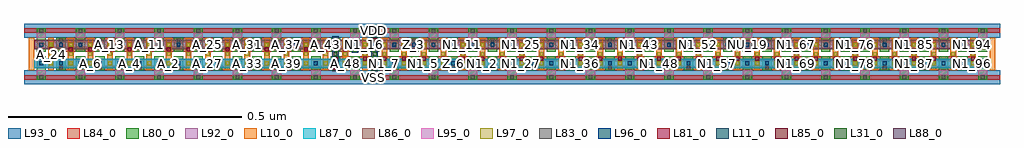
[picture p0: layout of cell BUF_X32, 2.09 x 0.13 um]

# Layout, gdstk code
import gdstk
lib = gdstk.Library(unit=1e-6, precision=1e-09)
def R(c, l, rs):  # rectangles x0, y0, x1, y1
    for r in rs: c.add(gdstk.rectangle(r[:2], r[2:], *l))
def A(c, l, x, y, w, h, nx, ny, dx, dy):  # array of equal rectangles
    R(c, l, [(x+i*dx, y+j*dy, x+i*dx+w, y+j*dy+h) for i in range(nx) for j in range(ny)])
L10_0 = (10, 0)
L11_0 = (11, 0)
L31_0 = (31, 0)
L80_0 = (80, 0)
L81_0 = (81, 0)
L83_0 = (83, 0)
L84_0 = (84, 0)
L85_0 = (85, 0)
L86_0 = (86, 0)
L87_0 = (87, 0)
L88_0 = (88, 0)
L92_0 = (92, 0)
L93_0 = (93, 0)
L95_0 = (95, 0)
L96_0 = (96, 0)
L97_0 = (97, 0)

buf_x32 = lib.new_cell('BUF_X32')
A(buf_x32, L10_0, 0.03, 0.05, 0.012, 0.07, 50, 1, 0.042, 0)
R(buf_x32, L11_0, [(0.68,0.048,0.694,0.123), (0.764,0.048,0.778,0.122), (0.722,0.088,0.736,0.102)])
R(buf_x32, L31_0, [(0.683,0.081,0.691,0.089), (0.767,0.081,0.775,0.089), (0.725,0.091,0.733,0.099)])
A(buf_x32, L80_0, 0.047, 0.03, 0.02, 0.05, 25, 2, 0.084, 0.06)
A(buf_x32, L80_0, 0.089, 0.05, 0.02, 0.03, 4, 1, 0.084, 0)
A(buf_x32, L80_0, 0.341, 0.05, 0.02, 0.03, 21, 1, 0.084, 0)
A(buf_x32, L80_0, 0.089, 0.09, 0.02, 0.03, 24, 1, 0.084, 0)
R(buf_x32, L81_0, [(0.746,0.071,0.754,0.079), (0.746,0.071,0.754,0.079), (0.788,0.071,0.796,0.079), (0.788,0.071,0.796,0.079), (0.83,0.071,0.838,0.079), (0.83,0.071,0.838,0.079), (0.872,0.071,0.88,0.079), (0.872,0.071,0.88,0.079), (0.914,0.071,0.922,0.079), (0.914,0.071,0.922,0.079), (0.956,0.071,0.964,0.079), (0.956,0.071,0.964,0.079), (0.998,0.071,1.006,0.079), (0.998,0.071,1.006,0.079), (1.04,0.071,1.048,0.079), (1.04,0.071,1.048,0.079), (1.082,0.071,1.09,0.079), (1.082,0.071,1.09,0.079), (1.124,0.071,1.132,0.079), (1.124,0.071,1.132,0.079), (1.166,0.071,1.174,0.079), (1.166,0.071,1.174,0.079), (1.208,0.071,1.216,0.079), (1.208,0.071,1.216,0.079), (1.25,0.071,1.258,0.079), (1.25,0.071,1.258,0.079), (1.292,0.071,1.3,0.079), (1.292,0.071,1.3,0.079), (1.334,0.071,1.342,0.079), (1.334,0.071,1.342,0.079), (1.376,0.071,1.384,0.079), (1.376,0.071,1.384,0.079), (1.418,0.071,1.426,0.079), (1.418,0.071,1.426,0.079), (1.46,0.071,1.468,0.079), (1.46,0.071,1.468,0.079), (1.502,0.071,1.51,0.079), (1.502,0.071,1.51,0.079), (1.544,0.071,1.552,0.079), (1.544,0.071,1.552,0.079), (1.586,0.071,1.594,0.079), (1.586,0.071,1.594,0.079), (1.628,0.071,1.636,0.079), (1.628,0.071,1.636,0.079), (1.67,0.071,1.678,0.079), (1.67,0.071,1.678,0.079), (1.712,0.071,1.72,0.079), (1.712,0.071,1.72,0.079), (1.754,0.071,1.762,0.079), (1.754,0.071,1.762,0.079), (1.796,0.071,1.804,0.079), (1.796,0.071,1.804,0.079), (1.838,0.071,1.846,0.079), (1.838,0.071,1.846,0.079), (1.88,0.071,1.888,0.079), (1.88,0.071,1.888,0.079), (1.922,0.071,1.93,0.079), (1.922,0.071,1.93,0.079), (1.964,0.071,1.972,0.079), (1.964,0.071,1.972,0.079), (2.006,0.071,2.014,0.079), (2.006,0.071,2.014,0.079), (2.048,0.071,2.056,0.079), (2.048,0.071,2.056,0.079), (0.074,0.091,0.082,0.099), (0.074,0.091,0.082,0.099), (0.116,0.091,0.124,0.099), (0.116,0.091,0.124,0.099), (0.158,0.091,0.166,0.099), (0.158,0.091,0.166,0.099), (0.2,0.091,0.208,0.099), (0.2,0.091,0.208,0.099), (0.242,0.091,0.25,0.099), (0.242,0.091,0.25,0.099), (0.284,0.091,0.292,0.099), (0.284,0.091,0.292,0.099), (0.326,0.091,0.334,0.099), (0.326,0.091,0.334,0.099), (0.368,0.091,0.376,0.099), (0.368,0.091,0.376,0.099), (0.41,0.091,0.418,0.099), (0.41,0.091,0.418,0.099), (0.452,0.091,0.46,0.099), (0.452,0.091,0.46,0.099), (0.494,0.091,0.502,0.099), (0.494,0.091,0.502,0.099), (0.536,0.091,0.544,0.099), (0.536,0.091,0.544,0.099), (0.578,0.091,0.586,0.099), (0.578,0.091,0.586,0.099), (0.62,0.091,0.628,0.099), (0.62,0.091,0.628,0.099), (0.662,0.091,0.67,0.099), (0.662,0.091,0.67,0.099), (0.704,0.091,0.712,0.099), (0.704,0.091,0.712,0.099)])
A(buf_x32, L83_0, 0.053, 0.031, 0.008, 0.008, 25, 2, 0.084, 0.1)
A(buf_x32, L83_0, 0.095, 0.051, 0.008, 0.008, 4, 1, 0.084, 0)
A(buf_x32, L83_0, 0.347, 0.051, 0.008, 0.008, 21, 1, 0.084, 0)
A(buf_x32, L83_0, 0.095, 0.111, 0.008, 0.008, 24, 1, 0.084, 0)
R(buf_x32, L84_0, [(0.02,0.03,2.11,0.04), (0.094,0.05,0.692,0.06), (0.766,0.05,2.036,0.06), (0.68,0.07,2.057,0.08), (0.073,0.09,0.734,0.1), (0.094,0.11,0.692,0.12), (0.766,0.11,2.036,0.12), (0.02,0.13,2.11,0.14)])
R(buf_x32, L85_0, [(0.683,0.051,0.691,0.059), (0.767,0.051,0.775,0.059), (0.683,0.071,0.691,0.079), (0.725,0.091,0.733,0.099), (0.725,0.091,0.733,0.099), (0.683,0.111,0.691,0.119), (0.767,0.111,0.775,0.119)])
R(buf_x32, L86_0, [(0.042,0.095,2.088,0.115)])
R(buf_x32, L87_0, [(0.042,0.055,2.088,0.075)])
R(buf_x32, L88_0, [(0.765,0.031,0.773,0.039), (0.765,0.131,0.773,0.139)])
R(buf_x32, L92_0, [(0.043,0.057,2.087,0.073), (0.043,0.097,2.087,0.113)])
R(buf_x32, L93_0, [(0.02,0.02,2.11,0.05), (0.02,0.12,2.11,0.15)])
A(buf_x32, L95_0, 0.047, 0.04, 0.02, 0.01, 25, 2, 0.084, 0.08)
A(buf_x32, L96_0, 0.053, 0.061, 0.008, 0.008, 49, 2, 0.042, 0.04)
A(buf_x32, L97_0, 0.074, 0.061, 0.008, 0.008, 48, 3, 0.042, 0.02)
buf_x32.add(gdstk.Label('A_24', (0.078,0.085), layer=97, texttype=0))
buf_x32.add(gdstk.Label('A_16', (0.078,0.105), layer=97, texttype=0))
buf_x32.add(gdstk.Label('A_27', (0.414,0.065), layer=97, texttype=0))
buf_x32.add(gdstk.Label('A_26', (0.414,0.085), layer=97, texttype=0))
buf_x32.add(gdstk.Label('A_25', (0.414,0.105), layer=97, texttype=0))
buf_x32.add(gdstk.Label('A_30', (0.456,0.065), layer=97, texttype=0))
buf_x32.add(gdstk.Label('A_29', (0.456,0.085), layer=97, texttype=0))
buf_x32.add(gdstk.Label('A_28', (0.456,0.105), layer=97, texttype=0))
buf_x32.add(gdstk.Label('A_31', (0.498,0.105), layer=97, texttype=0))
buf_x32.add(gdstk.Label('A_32', (0.498,0.085), layer=97, texttype=0))
buf_x32.add(gdstk.Label('A_33', (0.498,0.065), layer=97, texttype=0))
buf_x32.add(gdstk.Label('A_34', (0.54,0.105), layer=97, texttype=0))
buf_x32.add(gdstk.Label('A_35', (0.54,0.085), layer=97, texttype=0))
buf_x32.add(gdstk.Label('A_36', (0.54,0.065), layer=97, texttype=0))
buf_x32.add(gdstk.Label('A_39', (0.582,0.065), layer=97, texttype=0))
buf_x32.add(gdstk.Label('A_38', (0.582,0.085), layer=97, texttype=0))
buf_x32.add(gdstk.Label('A_37', (0.582,0.105), layer=97, texttype=0))
buf_x32.add(gdstk.Label('A_42', (0.624,0.065), layer=97, texttype=0))
buf_x32.add(gdstk.Label('A_41', (0.624,0.085), layer=97, texttype=0))
buf_x32.add(gdstk.Label('A_40', (0.624,0.105), layer=97, texttype=0))
buf_x32.add(gdstk.Label('A_43', (0.666,0.105), layer=97, texttype=0))
buf_x32.add(gdstk.Label('A_1', (0.372,0.065), layer=97, texttype=0))
buf_x32.add(gdstk.Label('N1_36', (1.212,0.065), layer=97, texttype=0))
buf_x32.add(gdstk.Label('N1_35', (1.212,0.085), layer=97, texttype=0))
buf_x32.add(gdstk.Label('N1_34', (1.212,0.105), layer=97, texttype=0))
buf_x32.add(gdstk.Label('N1_33', (1.17,0.065), layer=97, texttype=0))
buf_x32.add(gdstk.Label('N1_32', (1.17,0.085), layer=97, texttype=0))
buf_x32.add(gdstk.Label('N1_31', (1.17,0.105), layer=97, texttype=0))
buf_x32.add(gdstk.Label('N1_30', (1.128,0.065), layer=97, texttype=0))
buf_x32.add(gdstk.Label('N1_29', (1.128,0.085), layer=97, texttype=0))
buf_x32.add(gdstk.Label('N1_28', (1.128,0.105), layer=97, texttype=0))
buf_x32.add(gdstk.Label('N1_27', (1.086,0.065), layer=97, texttype=0))
buf_x32.add(gdstk.Label('N1_26', (1.086,0.085), layer=97, texttype=0))
buf_x32.add(gdstk.Label('N1_25', (1.086,0.105), layer=97, texttype=0))
buf_x32.add(gdstk.Label('N1_1', (1.044,0.065), layer=97, texttype=0))
buf_x32.add(gdstk.Label('N1_2', (1.002,0.065), layer=97, texttype=0))
buf_x32.add(gdstk.Label('N1_3', (0.96,0.065), layer=97, texttype=0))
buf_x32.add(gdstk.Label('N1_17', (1.044,0.085), layer=97, texttype=0))
buf_x32.add(gdstk.Label('N1_9', (1.044,0.105), layer=97, texttype=0))
buf_x32.add(gdstk.Label('N1_18', (1.002,0.085), layer=97, texttype=0))
buf_x32.add(gdstk.Label('N1_10', (1.002,0.105), layer=97, texttype=0))
buf_x32.add(gdstk.Label('N1_19', (0.96,0.085), layer=97, texttype=0))
buf_x32.add(gdstk.Label('N1_11', (0.96,0.105), layer=97, texttype=0))
buf_x32.add(gdstk.Label('N1_5', (0.876,0.065), layer=97, texttype=0))
buf_x32.add(gdstk.Label('N1_4', (0.918,0.065), layer=97, texttype=0))
buf_x32.add(gdstk.Label('A_46', (0.708,0.105), layer=97, texttype=0))
buf_x32.add(gdstk.Label('A_47', (0.708,0.085), layer=97, texttype=0))
buf_x32.add(gdstk.Label('A_48', (0.708,0.065), layer=97, texttype=0))
buf_x32.add(gdstk.Label('A_45', (0.666,0.065), layer=97, texttype=0))
buf_x32.add(gdstk.Label('A_44', (0.666,0.085), layer=97, texttype=0))
buf_x32.add(gdstk.Label('N1_40', (1.296,0.105), layer=97, texttype=0))
buf_x32.add(gdstk.Label('N1_43', (1.338,0.105), layer=97, texttype=0))
buf_x32.add(gdstk.Label('N1_48', (1.38,0.065), layer=97, texttype=0))
buf_x32.add(gdstk.Label('N1_45', (1.338,0.065), layer=97, texttype=0))
buf_x32.add(gdstk.Label('N1_44', (1.338,0.085), layer=97, texttype=0))
buf_x32.add(gdstk.Label('N1_47', (1.38,0.085), layer=97, texttype=0))
buf_x32.add(gdstk.Label('N1_46', (1.38,0.105), layer=97, texttype=0))
buf_x32.add(gdstk.Label('N1_51', (1.422,0.065), layer=97, texttype=0))
buf_x32.add(gdstk.Label('N1_50', (1.422,0.085), layer=97, texttype=0))
buf_x32.add(gdstk.Label('N1_49', (1.422,0.105), layer=97, texttype=0))
buf_x32.add(gdstk.Label('N1_52', (1.464,0.105), layer=97, texttype=0))
buf_x32.add(gdstk.Label('N1_53', (1.464,0.085), layer=97, texttype=0))
buf_x32.add(gdstk.Label('N1_54', (1.464,0.065), layer=97, texttype=0))
buf_x32.add(gdstk.Label('N1_57', (1.506,0.065), layer=97, texttype=0))
buf_x32.add(gdstk.Label('A_11', (0.288,0.105), layer=97, texttype=0))
buf_x32.add(gdstk.Label('A_19', (0.288,0.085), layer=97, texttype=0))
buf_x32.add(gdstk.Label('A_10', (0.33,0.105), layer=97, texttype=0))
buf_x32.add(gdstk.Label('A_18', (0.33,0.085), layer=97, texttype=0))
buf_x32.add(gdstk.Label('A_9', (0.372,0.105), layer=97, texttype=0))
buf_x32.add(gdstk.Label('A_17', (0.372,0.085), layer=97, texttype=0))
buf_x32.add(gdstk.Label('A_8', (0.078,0.065), layer=97, texttype=0))
buf_x32.add(gdstk.Label('A_7', (0.12,0.065), layer=97, texttype=0))
buf_x32.add(gdstk.Label('N1_37', (1.254,0.105), layer=97, texttype=0))
buf_x32.add(gdstk.Label('N1_38', (1.254,0.085), layer=97, texttype=0))
buf_x32.add(gdstk.Label('N1_39', (1.254,0.065), layer=97, texttype=0))
buf_x32.add(gdstk.Label('N1_42', (1.296,0.065), layer=97, texttype=0))
buf_x32.add(gdstk.Label('N1_41', (1.296,0.085), layer=97, texttype=0))
buf_x32.add(gdstk.Label('A_6', (0.162,0.065), layer=97, texttype=0))
buf_x32.add(gdstk.Label('A_5', (0.204,0.065), layer=97, texttype=0))
buf_x32.add(gdstk.Label('A_4', (0.246,0.065), layer=97, texttype=0))
buf_x32.add(gdstk.Label('A_3', (0.288,0.065), layer=97, texttype=0))
buf_x32.add(gdstk.Label('A_2', (0.33,0.065), layer=97, texttype=0))
buf_x32.add(gdstk.Label('N1_76', (1.8,0.105), layer=97, texttype=0))
buf_x32.add(gdstk.Label('N1_77', (1.8,0.085), layer=97, texttype=0))
buf_x32.add(gdstk.Label('N1_78', (1.8,0.065), layer=97, texttype=0))
buf_x32.add(gdstk.Label('N1_81', (1.842,0.065), layer=97, texttype=0))
buf_x32.add(gdstk.Label('N1_80', (1.842,0.085), layer=97, texttype=0))
buf_x32.add(gdstk.Label('N1_79', (1.842,0.105), layer=97, texttype=0))
buf_x32.add(gdstk.Label('N1_84', (1.884,0.065), layer=97, texttype=0))
buf_x32.add(gdstk.Label('N1_83', (1.884,0.085), layer=97, texttype=0))
buf_x32.add(gdstk.Label('N1_82', (1.884,0.105), layer=97, texttype=0))
buf_x32.add(gdstk.Label('N1_87', (1.926,0.065), layer=97, texttype=0))
buf_x32.add(gdstk.Label('N1_86', (1.926,0.085), layer=97, texttype=0))
buf_x32.add(gdstk.Label('N1_85', (1.926,0.105), layer=97, texttype=0))
buf_x32.add(gdstk.Label('N1_88', (1.968,0.105), layer=97, texttype=0))
buf_x32.add(gdstk.Label('N1_89', (1.968,0.085), layer=97, texttype=0))
buf_x32.add(gdstk.Label('N1_90', (1.968,0.065), layer=97, texttype=0))
buf_x32.add(gdstk.Label('N1_93', (2.01,0.065), layer=97, texttype=0))
buf_x32.add(gdstk.Label('N1_92', (2.01,0.085), layer=97, texttype=0))
buf_x32.add(gdstk.Label('N1_91', (2.01,0.105), layer=97, texttype=0))
buf_x32.add(gdstk.Label('N1_96', (2.052,0.065), layer=97, texttype=0))
buf_x32.add(gdstk.Label('N1_95', (2.052,0.085), layer=97, texttype=0))
buf_x32.add(gdstk.Label('N1_94', (2.052,0.105), layer=97, texttype=0))
buf_x32.add(gdstk.Label('A_20', (0.246,0.085), layer=97, texttype=0))
buf_x32.add(gdstk.Label('A_12', (0.246,0.105), layer=97, texttype=0))
buf_x32.add(gdstk.Label('A_21', (0.204,0.085), layer=97, texttype=0))
buf_x32.add(gdstk.Label('A_13', (0.204,0.105), layer=97, texttype=0))
buf_x32.add(gdstk.Label('A_22', (0.162,0.085), layer=97, texttype=0))
buf_x32.add(gdstk.Label('A_14', (0.162,0.105), layer=97, texttype=0))
buf_x32.add(gdstk.Label('A_15', (0.12,0.105), layer=97, texttype=0))
buf_x32.add(gdstk.Label('A_23', (0.12,0.085), layer=97, texttype=0))
buf_x32.add(gdstk.Label('N1_16', (0.75,0.105), layer=97, texttype=0))
buf_x32.add(gdstk.Label('N1_24', (0.75,0.085), layer=97, texttype=0))
buf_x32.add(gdstk.Label('N1_23', (0.792,0.085), layer=97, texttype=0))
buf_x32.add(gdstk.Label('N1_15', (0.792,0.105), layer=97, texttype=0))
buf_x32.add(gdstk.Label('N1_14', (0.834,0.105), layer=97, texttype=0))
buf_x32.add(gdstk.Label('N1_22', (0.834,0.085), layer=97, texttype=0))
buf_x32.add(gdstk.Label('N1_13', (0.876,0.105), layer=97, texttype=0))
buf_x32.add(gdstk.Label('N1_21', (0.876,0.085), layer=97, texttype=0))
buf_x32.add(gdstk.Label('N1_12', (0.918,0.105), layer=97, texttype=0))
buf_x32.add(gdstk.Label('N1_20', (0.918,0.085), layer=97, texttype=0))
buf_x32.add(gdstk.Label('N1_8', (0.75,0.065), layer=97, texttype=0))
buf_x32.add(gdstk.Label('N1_7', (0.792,0.065), layer=97, texttype=0))
buf_x32.add(gdstk.Label('N1_6', (0.834,0.065), layer=97, texttype=0))
buf_x32.add(gdstk.Label('N1_73', (1.758,0.105), layer=97, texttype=0))
buf_x32.add(gdstk.Label('N1_74', (1.758,0.085), layer=97, texttype=0))
buf_x32.add(gdstk.Label('N1_75', (1.758,0.065), layer=97, texttype=0))
buf_x32.add(gdstk.Label('N1_70', (1.716,0.105), layer=97, texttype=0))
buf_x32.add(gdstk.Label('N1_71', (1.716,0.085), layer=97, texttype=0))
buf_x32.add(gdstk.Label('N1_72', (1.716,0.065), layer=97, texttype=0))
buf_x32.add(gdstk.Label('N1_69', (1.674,0.065), layer=97, texttype=0))
buf_x32.add(gdstk.Label('N1_68', (1.674,0.085), layer=97, texttype=0))
buf_x32.add(gdstk.Label('N1_67', (1.674,0.105), layer=97, texttype=0))
buf_x32.add(gdstk.Label('N1_66', (1.632,0.065), layer=97, texttype=0))
buf_x32.add(gdstk.Label('N1_65', (1.632,0.085), layer=97, texttype=0))
buf_x32.add(gdstk.Label('N1_64', (1.632,0.105), layer=97, texttype=0))
buf_x32.add(gdstk.Label('N1_61', (1.59,0.105), layer=97, texttype=0))
buf_x32.add(gdstk.Label('N1_62', (1.59,0.085), layer=97, texttype=0))
buf_x32.add(gdstk.Label('N1_63', (1.59,0.065), layer=97, texttype=0))
buf_x32.add(gdstk.Label('N1_58', (1.548,0.105), layer=97, texttype=0))
buf_x32.add(gdstk.Label('N1_59', (1.548,0.085), layer=97, texttype=0))
buf_x32.add(gdstk.Label('N1_60', (1.548,0.065), layer=97, texttype=0))
buf_x32.add(gdstk.Label('N1_55', (1.506,0.105), layer=97, texttype=0))
buf_x32.add(gdstk.Label('N1_56', (1.506,0.085), layer=97, texttype=0))
buf_x32.add(gdstk.Label('NU_7', (0.561,0.105), layer=96, texttype=0))
buf_x32.add(gdstk.Label('N1_108', (0.519,0.105), layer=96, texttype=0))
buf_x32.add(gdstk.Label('NU_6', (0.477,0.105), layer=96, texttype=0))
buf_x32.add(gdstk.Label('N1_105', (0.435,0.105), layer=96, texttype=0))
buf_x32.add(gdstk.Label('NU_5', (0.393,0.105), layer=96, texttype=0))
buf_x32.add(gdstk.Label('N1_103', (0.351,0.105), layer=96, texttype=0))
buf_x32.add(gdstk.Label('NU_4', (0.309,0.105), layer=96, texttype=0))
buf_x32.add(gdstk.Label('N1_101', (0.267,0.105), layer=96, texttype=0))
buf_x32.add(gdstk.Label('ND_1', (0.057,0.065), layer=96, texttype=0))
buf_x32.add(gdstk.Label('N1_98', (0.099,0.065), layer=96, texttype=0))
buf_x32.add(gdstk.Label('NU_2', (0.141,0.105), layer=96, texttype=0))
buf_x32.add(gdstk.Label('ND_2', (0.141,0.065), layer=96, texttype=0))
buf_x32.add(gdstk.Label('N1_100', (0.183,0.065), layer=96, texttype=0))
buf_x32.add(gdstk.Label('N1_99', (0.183,0.105), layer=96, texttype=0))
buf_x32.add(gdstk.Label('N1_102', (0.267,0.065), layer=96, texttype=0))
buf_x32.add(gdstk.Label('NU_3', (0.225,0.105), layer=96, texttype=0))
buf_x32.add(gdstk.Label('ND_3', (0.225,0.065), layer=96, texttype=0))
buf_x32.add(gdstk.Label('Z_11', (1.191,0.105), layer=96, texttype=0))
buf_x32.add(gdstk.Label('NU_14', (1.149,0.105), layer=96, texttype=0))
buf_x32.add(gdstk.Label('ND_17', (1.401,0.065), layer=96, texttype=0))
buf_x32.add(gdstk.Label('Z_18', (1.443,0.065), layer=96, texttype=0))
buf_x32.add(gdstk.Label('ND_18', (1.485,0.065), layer=96, texttype=0))
buf_x32.add(gdstk.Label('Z_20', (1.527,0.065), layer=96, texttype=0))
buf_x32.add(gdstk.Label('ND_19', (1.569,0.065), layer=96, texttype=0))
buf_x32.add(gdstk.Label('Z_22', (1.611,0.065), layer=96, texttype=0))
buf_x32.add(gdstk.Label('ND_20', (1.653,0.065), layer=96, texttype=0))
buf_x32.add(gdstk.Label('Z_24', (1.695,0.065), layer=96, texttype=0))
buf_x32.add(gdstk.Label('ND_21', (1.737,0.065), layer=96, texttype=0))
buf_x32.add(gdstk.Label('Z_26', (1.779,0.065), layer=96, texttype=0))
buf_x32.add(gdstk.Label('ND_22', (1.821,0.065), layer=96, texttype=0))
buf_x32.add(gdstk.Label('Z_28', (1.863,0.065), layer=96, texttype=0))
buf_x32.add(gdstk.Label('ND_23', (1.905,0.065), layer=96, texttype=0))
buf_x32.add(gdstk.Label('Z_30', (1.947,0.065), layer=96, texttype=0))
buf_x32.add(gdstk.Label('ND_24', (1.989,0.065), layer=96, texttype=0))
buf_x32.add(gdstk.Label('Z_32', (2.031,0.065), layer=96, texttype=0))
buf_x32.add(gdstk.Label('ND_25', (2.073,0.065), layer=96, texttype=0))
buf_x32.add(gdstk.Label('ND_7', (0.561,0.065), layer=96, texttype=0))
buf_x32.add(gdstk.Label('N1_109', (0.519,0.065), layer=96, texttype=0))
buf_x32.add(gdstk.Label('NU_25', (2.073,0.105), layer=96, texttype=0))
buf_x32.add(gdstk.Label('Z_31', (2.031,0.105), layer=96, texttype=0))
buf_x32.add(gdstk.Label('NU_24', (1.989,0.105), layer=96, texttype=0))
buf_x32.add(gdstk.Label('Z_29', (1.947,0.105), layer=96, texttype=0))
buf_x32.add(gdstk.Label('NU_23', (1.905,0.105), layer=96, texttype=0))
buf_x32.add(gdstk.Label('Z_27', (1.863,0.105), layer=96, texttype=0))
buf_x32.add(gdstk.Label('NU_22', (1.821,0.105), layer=96, texttype=0))
buf_x32.add(gdstk.Label('Z_25', (1.779,0.105), layer=96, texttype=0))
buf_x32.add(gdstk.Label('NU_21', (1.737,0.105), layer=96, texttype=0))
buf_x32.add(gdstk.Label('Z_23', (1.695,0.105), layer=96, texttype=0))
buf_x32.add(gdstk.Label('NU_20', (1.653,0.105), layer=96, texttype=0))
buf_x32.add(gdstk.Label('Z_21', (1.611,0.105), layer=96, texttype=0))
buf_x32.add(gdstk.Label('ND_6', (0.477,0.065), layer=96, texttype=0))
buf_x32.add(gdstk.Label('N1_106', (0.435,0.065), layer=96, texttype=0))
buf_x32.add(gdstk.Label('ND_5', (0.393,0.065), layer=96, texttype=0))
buf_x32.add(gdstk.Label('N1_104', (0.351,0.065), layer=96, texttype=0))
buf_x32.add(gdstk.Label('ND_4', (0.309,0.065), layer=96, texttype=0))
buf_x32.add(gdstk.Label('NU_1', (0.057,0.105), layer=96, texttype=0))
buf_x32.add(gdstk.Label('N1_97', (0.099,0.105), layer=96, texttype=0))
buf_x32.add(gdstk.Label('N1_111', (0.603,0.065), layer=96, texttype=0))
buf_x32.add(gdstk.Label('ND_8', (0.645,0.065), layer=96, texttype=0))
buf_x32.add(gdstk.Label('N1_113', (0.687,0.065), layer=96, texttype=0))
buf_x32.add(gdstk.Label('ND_9', (0.729,0.065), layer=96, texttype=0))
buf_x32.add(gdstk.Label('Z_2', (0.771,0.065), layer=96, texttype=0))
buf_x32.add(gdstk.Label('ND_10', (0.813,0.065), layer=96, texttype=0))
buf_x32.add(gdstk.Label('Z_4', (0.855,0.065), layer=96, texttype=0))
buf_x32.add(gdstk.Label('ND_11', (0.897,0.065), layer=96, texttype=0))
buf_x32.add(gdstk.Label('Z_6', (0.939,0.065), layer=96, texttype=0))
buf_x32.add(gdstk.Label('ND_12', (0.981,0.065), layer=96, texttype=0))
buf_x32.add(gdstk.Label('Z_8', (1.023,0.065), layer=96, texttype=0))
buf_x32.add(gdstk.Label('ND_13', (1.065,0.065), layer=96, texttype=0))
buf_x32.add(gdstk.Label('NU_13', (1.065,0.105), layer=96, texttype=0))
buf_x32.add(gdstk.Label('Z_7', (1.023,0.105), layer=96, texttype=0))
buf_x32.add(gdstk.Label('NU_12', (0.981,0.105), layer=96, texttype=0))
buf_x32.add(gdstk.Label('Z_5', (0.939,0.105), layer=96, texttype=0))
buf_x32.add(gdstk.Label('NU_11', (0.897,0.105), layer=96, texttype=0))
buf_x32.add(gdstk.Label('Z_3', (0.855,0.105), layer=96, texttype=0))
buf_x32.add(gdstk.Label('NU_10', (0.813,0.105), layer=96, texttype=0))
buf_x32.add(gdstk.Label('Z_1', (0.771,0.105), layer=96, texttype=0))
buf_x32.add(gdstk.Label('NU_9', (0.729,0.105), layer=96, texttype=0))
buf_x32.add(gdstk.Label('N1_112', (0.687,0.105), layer=96, texttype=0))
buf_x32.add(gdstk.Label('NU_8', (0.645,0.105), layer=96, texttype=0))
buf_x32.add(gdstk.Label('N1_110', (0.603,0.105), layer=96, texttype=0))
buf_x32.add(gdstk.Label('ND_16', (1.317,0.065), layer=96, texttype=0))
buf_x32.add(gdstk.Label('NU_16', (1.317,0.105), layer=96, texttype=0))
buf_x32.add(gdstk.Label('Z_16', (1.359,0.065), layer=96, texttype=0))
buf_x32.add(gdstk.Label('Z_13', (1.275,0.105), layer=96, texttype=0))
buf_x32.add(gdstk.Label('Z_14', (1.275,0.065), layer=96, texttype=0))
buf_x32.add(gdstk.Label('ND_15', (1.233,0.065), layer=96, texttype=0))
buf_x32.add(gdstk.Label('NU_15', (1.233,0.105), layer=96, texttype=0))
buf_x32.add(gdstk.Label('Z_12', (1.191,0.065), layer=96, texttype=0))
buf_x32.add(gdstk.Label('ND_14', (1.149,0.065), layer=96, texttype=0))
buf_x32.add(gdstk.Label('Z_15', (1.359,0.105), layer=96, texttype=0))
buf_x32.add(gdstk.Label('NU_17', (1.401,0.105), layer=96, texttype=0))
buf_x32.add(gdstk.Label('Z_17', (1.443,0.105), layer=96, texttype=0))
buf_x32.add(gdstk.Label('NU_18', (1.485,0.105), layer=96, texttype=0))
buf_x32.add(gdstk.Label('Z_19', (1.527,0.105), layer=96, texttype=0))
buf_x32.add(gdstk.Label('NU_19', (1.569,0.105), layer=96, texttype=0))
buf_x32.add(gdstk.Label('Z_10', (1.107,0.065), layer=96, texttype=0))
buf_x32.add(gdstk.Label('Z_9', (1.107,0.105), layer=96, texttype=0))
buf_x32.add(gdstk.Label('VDD', (0.769,0.135), layer=88, texttype=0))
buf_x32.add(gdstk.Label('VSS', (0.769,0.035), layer=88, texttype=0))
buf_x32.add(gdstk.Label('A', (0.729,0.095), layer=31, texttype=0))
buf_x32.add(gdstk.Label('Z', (0.771,0.085), layer=31, texttype=0))
buf_x32.add(gdstk.Label('N1', (0.687,0.085), layer=31, texttype=0))

lib.write_gds('BUF_X32.gds')
